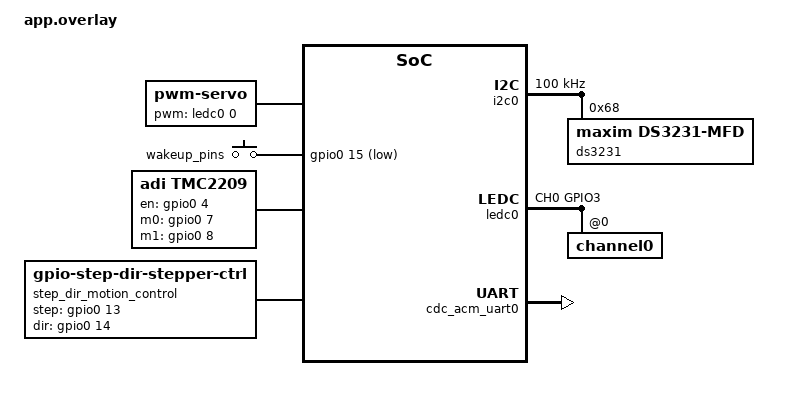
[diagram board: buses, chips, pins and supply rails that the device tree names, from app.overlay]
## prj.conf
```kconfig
CONFIG_UART_INTERRUPT_DRIVEN=y

CONFIG_RING_BUFFER=y

# Logging
CONFIG_LOG=y
CONFIG_LOG_OUTPUT=y
CONFIG_LOG_DEFAULT_LEVEL=4
CONFIG_LOG_BACKEND_UART=n
CONFIG_KERNEL_LOG_LEVEL_WRN=y

# CDC ACM
CONFIG_USB_DEVICE_STACK_NEXT=y
CONFIG_UDC_DWC2=y
CONFIG_USBD_CDC_ACM_CLASS=y
CONFIG_USBD_CDC_ACM_LOG_LEVEL_WRN=y
CONFIG_USBD_LOG_LEVEL_WRN=y
CONFIG_UDC_DRIVER_LOG_LEVEL_WRN=y

# USB Descriptor
CONFIG_USBD_PID=0x0001
CONFIG_USBD_PRODUCT="USBD Dog Feeder ACM"

# MOTORS
CONFIG_PWM=y
CONFIG_STEPPER=y
CONFIG_STEPPER_ADI_TMC2209=y

# RTC
CONFIG_I2C=y
CONFIG_RTC=y
CONFIG_RTC_ALARM=y
CONFIG_RTC_DS3231=y

# Sleep Mode
CONFIG_POWEROFF=y
CONFIG_PM=y
CONFIG_SOC_LOG_LEVEL_ERR=y
CONFIG_PM_LOG_LEVEL_INF=y
```

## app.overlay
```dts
#include <zephyr/dt-bindings/pwm/pwm.h>

/ {
    chosen {
        zephyr,console = &cdc_acm_uart0;
    };

    servo: servo {
        compatible = "pwm-servo";
        /* SG90 micro servo, empirically calibrated (datasheet range: ~500-2400us) */
        pwms = <&ledc0 0 PWM_MSEC(20) PWM_POLARITY_NORMAL>;
        min-pulse = <PWM_USEC(500)>;
        max-pulse = <PWM_USEC(2400)>;
    };

    aliases {
        wakeup-pins = &wakeup_pins;
		stepper-driver = &tmc2209;
		stepper-ctrl = &step_dir_motion_control;
	};

    gpio_keys {
		compatible = "gpio-keys";

		wakeup_pins: wakeup_pins {
			gpios = <&gpio0 15 (GPIO_PULL_UP | GPIO_ACTIVE_LOW | GPIO_INT_WAKEUP)>;
		};
	};

	tmc2209: stepper-driver {
		compatible = "adi,tmc2209";
		en-gpios = <&gpio0 4 GPIO_ACTIVE_HIGH>;
		m0-gpios = <&gpio0 7 GPIO_ACTIVE_HIGH>;
		m1-gpios = <&gpio0 8 GPIO_ACTIVE_HIGH>;
		micro-step-res = <32>;
	};

	step_dir_motion_control: motion-controller {
		compatible = "zephyr,gpio-step-dir-stepper-ctrl";
		step-gpios = <&gpio0 13 GPIO_ACTIVE_HIGH>;
		dir-gpios = <&gpio0 14 GPIO_ACTIVE_HIGH>;
		invert-direction;
		stepper-driver = <&tmc2209>;
	};
};

&spi2 {
    status = "disabled";
};

&i2c0 {
    status = "okay";
    clock-frequency = <I2C_BITRATE_STANDARD>; /* 100 kHz or use I2C_BITRATE_FAST for 400kHz */

    ds3231: ds3231@68 {
        compatible = "maxim,ds3231-mfd";
        reg = <0x68>;
        status = "okay";

        ds3231_rtc: ds3231_rtc {
            compatible = "maxim,ds3231-rtc";
            status = "okay";
            isw-gpios = <&gpio0 15 (GPIO_PULL_UP | GPIO_ACTIVE_LOW)>;
            freq-32khz-gpios = <&gpio0 16 (GPIO_PULL_UP | GPIO_ACTIVE_LOW)>;
        };
    };
};

&pinctrl {
    ledc0_default: ledc0_default {
        group1 {
            pinmux = <LEDC_CH0_GPIO3>;
            output-enable;
        };
    };
};

&ledc0 {
    pinctrl-0 = <&ledc0_default>;
    pinctrl-names = "default";
    status = "okay";
    #address-cells = <1>;
    #size-cells = <0>;

    channel0@0 {
        reg = <0x0>;
        timer = <0>;
    };
};

&zephyr_udc0 {
    cdc_acm_uart0: cdc_acm_uart0 {
            compatible = "zephyr,cdc-acm-uart";
    };
};
```

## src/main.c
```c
#include <zephyr/kernel.h>
#include <zephyr/drivers/rtc.h>
#include <zephyr/logging/log.h>

#include "uart.h"
#include "servo.h"
#include "stepper.h"
#include "rtc.h"
#include "usbd_configurator.h"
#include "power_management.h"

LOG_MODULE_REGISTER(zDogFeederApp, CONFIG_LOG_DEFAULT_LEVEL);

static const struct device *const uart_dev = DEVICE_DT_GET_ONE(zephyr_cdc_acm_uart);

static struct usbd_context usbd_ctx;

int main(void)
{
    int ret;

    if(init_uart(uart_dev)) {
        LOG_ERR("Error initializing UART");
        return -1;
    }
    
    ret = init_cdc_acm(&usbd_ctx);
	if (ret != 0) {
        LOG_ERR("Error initializing USB CDC ACM device support");
		return ret;
	}

    ret = init_stepper();
	if (ret != 0) {
        LOG_ERR("Error initializing stepper motor");
		return ret;
	}

    ret = init_rtc();
    if (ret != 0) {
        LOG_ERR("Error initializing RTC");
		return ret;
	}
    
    LOG_INF("ESP32 Successfully booted");
    
    // Testing setting motors pos
    ret = set_servo_deg_pos(10);
    ret = stepper_move_by_deg(10);

    // Checking wakeup cause
    log_wakeup_cause();
    
    // Testing setting an alarm for now + 5min
    struct rtc_time cur_time;
    get_rtc_date_time(&cur_time);
    struct rtc_time alarm_time = {
        .tm_min = (cur_time.tm_min + 5) % 60, // wrap minute to avoid going over 59min
    };

    alarm_ctx_t alarm_ctx = {
        .alarm_id = 1,
        .alarm_mask = RTC_ALARM_TIME_MASK_MINUTE,
        .alarm_time = alarm_time,
        .callback = NULL,
        .user_data = NULL,
    };

    enable_wakeup_src();
    set_rtc_alarm(alarm_ctx);
    go_to_sleep();

    return 0;
}
```

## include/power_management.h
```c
#ifndef POWER_MANAGEMENT_H
#define POWER_MANAGEMENT_H

#include <esp_sleep.h>

int enable_wakeup_src(void);
void go_to_sleep(void);
esp_sleep_wakeup_cause_t get_wakeup_cause(void);
void log_wakeup_cause(void);

#endif // POWER_MANAGEMENT_H
```

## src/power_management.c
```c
#include <zephyr/kernel.h>
#include <zephyr/drivers/gpio.h>
#include <zephyr/sys/poweroff.h>
#include <zephyr/logging/log.h>

#include "power_management.h"

LOG_MODULE_REGISTER(power_management, LOG_LEVEL_INF);

#define WAKE_GPIOS DT_ALIAS(wakeup_pins)
#define BUILD_GPIO_SPEC(node_id, prop, idx) GPIO_DT_SPEC_GET_BY_IDX(node_id, prop, idx),

#if !DT_NODE_HAS_STATUS_OKAY(WAKE_GPIOS)
#error "Unsupported: wakeup-pins node/alias not defined"
#endif

/**
 * ds3231 only has one wakeup pin, but there are RTCs that have multiple
 */
static const struct gpio_dt_spec wake_gpios[] = {
    DT_FOREACH_PROP_ELEM(WAKE_GPIOS, gpios, BUILD_GPIO_SPEC)
};

static int enable_wakeup_gpio(int gpio) {
    int ret = 0;

    if(!esp_sleep_is_valid_wakeup_gpio(gpio)) {
        LOG_ERR("Configured wakeup GPIO (pin %d) is not valid wakeup source.", gpio);
        return -EINVAL;
    }

    ret = esp_sleep_enable_ext0_wakeup(gpio, 0);
    if (ret != ESP_OK) {
        LOG_ERR("Error enabling wakeup GPIO (pin %d) as a wakeup source.", gpio);
        return ret;
    }

    LOG_INF("GPIO %d successfully set as wakeup source.", gpio);

    return ret;
}

int enable_wakeup_src() {
    return enable_wakeup_gpio(wake_gpios[0].pin);
}

void go_to_sleep() {
    LOG_INF("Entering sleep mode...");
	sys_poweroff();
}

esp_sleep_wakeup_cause_t get_wakeup_cause(void) {
	uint32_t causes = esp_sleep_get_wakeup_causes();

	if (causes == 0) {
		return ESP_SLEEP_WAKEUP_UNDEFINED;
	}
	return (esp_sleep_wakeup_cause_t)__builtin_ctz(causes);
}

void log_wakeup_cause() {
    esp_sleep_wakeup_cause_t sleep_wakeup_cause = get_wakeup_cause();

    switch (sleep_wakeup_cause) {
        case ESP_SLEEP_WAKEUP_EXT0: {
                LOG_INF("Wake up from GPIO");
            }
            break;
        case ESP_SLEEP_WAKEUP_TIMER:
            LOG_INF("Wake up from timer.");
            break;
        case ESP_SLEEP_WAKEUP_UNDEFINED:
        default:
            LOG_INF("Not a deep sleep reset");
	}
}
```

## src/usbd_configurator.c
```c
#include <zephyr/kernel.h>
#include <zephyr/logging/log.h>
#include <zephyr/drivers/uart.h>
#include <zephyr/device.h>

#include "usbd_configurator.h"

LOG_MODULE_REGISTER(usbd_config);

/* By default, do not register the USB DFU class DFU mode instance. */
static const char *const blocklist[] = {
	"dfu_dfu",
	NULL,
};

/* doc device instantiation start */
/*
 * Instantiate a context named usbd_ctx using the default USB device
 * controller, the Zephyr project vendor ID, and the sample product ID.
 * Zephyr project vendor ID must not be used outside of Zephyr samples.
 */
USBD_DEVICE_DEFINE(usbd_ctx,
		   DEVICE_DT_GET(DT_NODELABEL(zephyr_udc0)),
		   CONFIG_USBD_VID, CONFIG_USBD_PID);
/* doc device instantiation end */

/* doc string instantiation start */
USBD_DESC_LANG_DEFINE(sample_lang);
USBD_DESC_MANUFACTURER_DEFINE(manufecturer, CONFIG_USBD_MANUFACTURER);
USBD_DESC_PRODUCT_DEFINE(product_d, CONFIG_USBD_PRODUCT);
IF_ENABLED(CONFIG_HWINFO, (USBD_DESC_SERIAL_NUMBER_DEFINE(sample_sn)));

/* doc string instantiation end */

USBD_DESC_CONFIG_DEFINE(fs_cfg_desc, "FS Configuration");
USBD_DESC_CONFIG_DEFINE(hs_cfg_desc, "HS Configuration");

/* doc configuration instantiation start */
static const uint8_t attributes = (IS_ENABLED(CONFIG_USBD_SELF_POWERED) ?
				   USB_SCD_SELF_POWERED : 0) |
				  (IS_ENABLED(CONFIG_USBD_REMOTE_WAKEUP) ?
				   USB_SCD_REMOTE_WAKEUP : 0);

/* Full speed configuration */
USBD_CONFIGURATION_DEFINE(sample_fs_config,
			  attributes,
			  CONFIG_USBD_MAX_POWER, &fs_cfg_desc);

/* High speed configuration */
USBD_CONFIGURATION_DEFINE(sample_hs_config,
			  attributes,
			  CONFIG_USBD_MAX_POWER, &hs_cfg_desc);
/* doc configuration instantiation end */

static void test_msg_cb(struct usbd_context *const ctx, const struct usbd_msg *msg)
{
	LOG_INF("USBD message: %s", usbd_msg_type_string(msg->type));

	if (usbd_can_detect_vbus(ctx)) {
		if (msg->type == USBD_MSG_VBUS_READY) {
			if (usbd_enable(ctx)) {
				LOG_ERR("Failed to enable device support");
			}
		}

		if (msg->type == USBD_MSG_VBUS_REMOVED) {
			if (usbd_disable(ctx)) {
				LOG_ERR("Failed to disable device support");
			}
		}
	}

	if (msg->type == USBD_MSG_CDC_ACM_CONTROL_LINE_STATE) {
		uint32_t dtr = 0U;

		uart_line_ctrl_get(msg->dev, UART_LINE_CTRL_DTR, &dtr);
		LOG_DBG("Control line state: dtr=%u", dtr);
	}
}

static void sample_fix_code_triple(struct usbd_context *usbd_ctx,
				   const enum usbd_speed speed)
{
	/* Always use class code information from Interface Descriptors */
	if (IS_ENABLED(CONFIG_USBD_CDC_ACM_CLASS) ||
	    IS_ENABLED(CONFIG_USBD_CDC_ECM_CLASS) ||
	    IS_ENABLED(CONFIG_USBD_CDC_NCM_CLASS) ||
	    IS_ENABLED(CONFIG_USBD_MIDI2_CLASS) ||
	    IS_ENABLED(CONFIG_USBD_AUDIO2_CLASS) ||
	    IS_ENABLED(CONFIG_USBD_VIDEO_CLASS)) {
		/*
		 * Class with multiple interfaces have an Interface
		 * Association Descriptor available, use an appropriate triple
		 * to indicate it.
		 */
		usbd_device_set_code_triple(usbd_ctx, speed,
					    USB_BCC_MISCELLANEOUS, 0x02, 0x01);
	} else {
		usbd_device_set_code_triple(usbd_ctx, speed, 0, 0, 0);
	}
}

static struct usbd_context *usbd_setup_device(usbd_msg_cb_t msg_cb)
{
	int err;

	/* doc add string descriptor start */
	err = usbd_add_descriptor(&usbd_ctx, &sample_lang);
	if (err) {
		LOG_ERR("Failed to initialize language descriptor (errno=%d)", err);
		return NULL;
	}

	err = usbd_add_descriptor(&usbd_ctx, &manufecturer);
	if (err) {
		LOG_ERR("Failed to initialize manufacturer descriptor (errno=%d)", err);
		return NULL;
	}

	err = usbd_add_descriptor(&usbd_ctx, &product_d);
	if (err) {
		LOG_ERR("Failed to initialize product descriptor (errno=%d)", err);
		return NULL;
	}

	IF_ENABLED(CONFIG_HWINFO, (
		err = usbd_add_descriptor(&usbd_ctx, &sample_sn);
	))
	if (err) {
		LOG_ERR("Failed to initialize SN descriptor (errno=%d)", err);
		return NULL;
	}
	/* doc add string descriptor end */

	if (USBD_SUPPORTS_HIGH_SPEED &&
	    usbd_caps_speed(&usbd_ctx) == USBD_SPEED_HS) {
		err = usbd_add_configuration(&usbd_ctx, USBD_SPEED_HS,
					     &sample_hs_config);
		if (err) {
			LOG_ERR("Failed to add High-Speed configuration");
			return NULL;
		}

		err = usbd_register_all_classes(&usbd_ctx, USBD_SPEED_HS, 1,
						blocklist);
		if (err) {
			LOG_ERR("Failed to add register classes");
			return NULL;
		}

		sample_fix_code_triple(&usbd_ctx, USBD_SPEED_HS);
	}

	/* doc configuration register start */
	err = usbd_add_configuration(&usbd_ctx, USBD_SPEED_FS,
				     &sample_fs_config);
	if (err) {
		LOG_ERR("Failed to add Full-Speed configuration");
		return NULL;
	}
	/* doc configuration register end */

	/* doc functions register start */
	err = usbd_register_all_classes(&usbd_ctx, USBD_SPEED_FS, 1, blocklist);
	if (err) {
		LOG_ERR("Failed to add register classes");
		return NULL;
	}
	/* doc functions register end */

	sample_fix_code_triple(&usbd_ctx, USBD_SPEED_FS);
	usbd_self_powered(&usbd_ctx, attributes & USB_SCD_SELF_POWERED);

	if (msg_cb != NULL) {
		/* doc device init-and-msg start */
		err = usbd_msg_register_cb(&usbd_ctx, msg_cb);
		if (err) {
			LOG_ERR("Failed to register message callback");
			return NULL;
		}
		/* doc device init-and-msg end */
	}

#if CONFIG_usbd_ctx_20_EXTENSION_DESC
	(void)usbd_device_set_bcd_usb(&usbd_ctx, USBD_SPEED_FS, 0x0201);
	(void)usbd_device_set_bcd_usb(&usbd_ctx, USBD_SPEED_HS, 0x0201);

	err = usbd_add_descriptor(&usbd_ctx, &sample_usbext);
	if (err) {
		LOG_ERR("Failed to add USB 2.0 Extension Descriptor");
		return NULL;
	}
#endif

	return &usbd_ctx;
}

static struct usbd_context *usbd_init_device(usbd_msg_cb_t msg_cb)
{
	int err;

	if (usbd_setup_device(msg_cb) == NULL) {
		return NULL;
	}

	/* doc device init start */
	err = usbd_init(&usbd_ctx);
	if (err) {
		LOG_ERR("Failed to initialize device support (errno=%d)", err);
		return NULL;
	}

	return &usbd_ctx;
}

int init_cdc_acm(struct usbd_context *usbd_ctx) {
	int err;

	usbd_ctx = usbd_init_device(test_msg_cb);
	if (usbd_ctx == NULL) {
		LOG_ERR("Failed to initialize USB device");
		return -ENODEV;
	}

	if (!usbd_can_detect_vbus(usbd_ctx)) {
		err = usbd_enable(usbd_ctx);
		if (err) {
			LOG_ERR("Failed to enable device support (errno=%d)", err);
			return err;
		}
	}

	LOG_INF("USB device support enabled");

	return 0;
}
```
